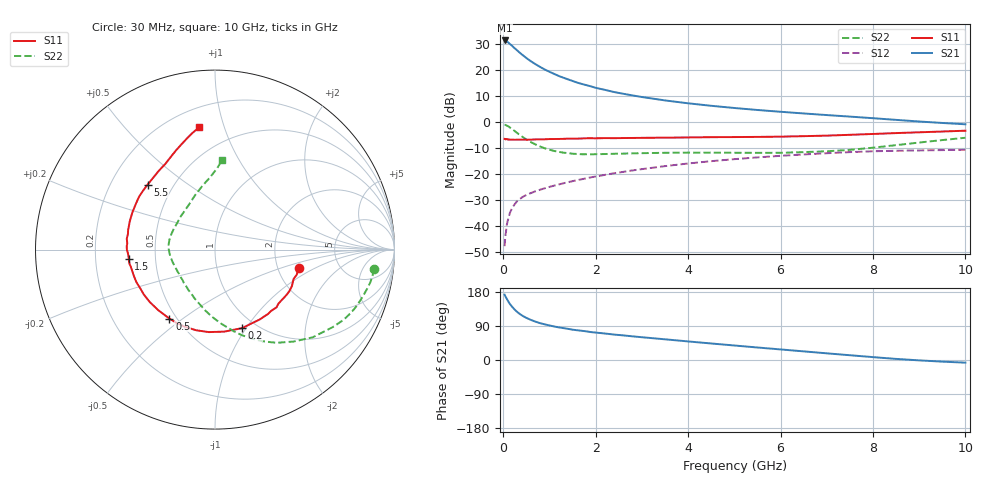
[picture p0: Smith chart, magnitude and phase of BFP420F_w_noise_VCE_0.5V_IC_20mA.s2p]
! Infineon Technologies  Discrete & RF Semiconductors
! BFP420F
! VCE =  0.5 V,  IC =  20 mA
! Common Emitter S-Parameters:  Sep 2011
# GHz  S  MA  R  50
!  f  S11  S21  S12  S22
! GHz  MAG  ANG  MAG  ANG  MAG  ANG  MAG  ANG
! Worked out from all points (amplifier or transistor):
!   54 points, 30 MHz to 10 GHz, reference 50 ohm
!   highest |S21| = 31.5 dB at 30 MHz (marker M1)
!   |S21| within 3 dB of that: start of sweep to 247.5 MHz
!   unconditionally stable (mu >= 1): 1.479 GHz to end of sweep
!   at 120 MHz: K = 0.30, MSG = 33.5 dB, |S12| = -36.4 dB
!   at 1.3 GHz: K = 0.96, MSG = 20.3 dB, |S12| = -23.5 dB
!   at 10 GHz: K = 1.21, MAG = 2.1 dB, |S12| = -10.6 dB
!   lowest NFmin = 1.53 dB at 450 MHz
!   S11 on the Smith chart (normalised r, x): 30 MHz: 2.61, -0.70; 200 MHz: 0.86, -0.96; 500 MHz: 0.46, -0.45; 1.5 GHz: 0.35, -0.05; 5.5 GHz: 0.36, +0.36; 10 GHz: 0.32, +0.83
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0.03  0.4775 -12.5  37.59 172.3  0.0041 87.4  0.8912 -6.9
0.05  0.4676 -20.6  36.75 167.2  0.0069 81.5  0.8846 -11.8
0.07  0.4746 -29.2  36.35 163.0  0.0094 80.7  0.8665 -16.8
0.1  0.464 -40.2  34.92 156.3  0.0129 76.6  0.8431 -23.2
0.12  0.4631 -47.6  33.69 152.2  0.0152 74.4  0.8224 -27.4
0.15  0.4622 -57.1  31.87 147.0  0.0185 71.0  0.7837 -33.6
0.2  0.4629 -71.1  29.16 139.4  0.0228 66.7  0.731 -42.0
0.25  0.4599 -83.7  26.48 132.7  0.0265 63.1  0.6737 -49.5
0.35  0.4615 -103.3  22.14 122.2  0.0328 58.4  0.5766 -62.4
0.4  0.4613 -111.0  20.29 118.1  0.0353 56.9  0.5362 -67.6
0.5  0.4609 -123.5  17.28 111.2  0.0396 54.7  0.4667 -77.1
0.6  0.4628 -133.5  14.89 105.7  0.0433 53.6  0.4126 -85.5
0.8  0.469 -147.8  11.59 97.1  0.0502 53.0  0.3405 -99.8
1.2  0.4761 -165.1  7.791 86.1  0.0633 53.5  0.2692 -123.4
1.5  0.4833 -173.9  6.238 80.0  0.0733 54.0  0.2474 -137.4
1.7  0.4863 -178.0  5.463 77.1  0.0799 54.0  0.2417 -145.7
2.4  0.4928 169.8  3.814 67.1  0.104 52.9  0.2468 -164.7
3.5  0.5047 155.9  2.632 54.6  0.1427 48.7  0.2577 179.6
5.5  0.5216 136.1  1.721 33.0  0.2103 35.9  0.2573 153.2
7  0.5522 120.0  1.374 17.6  0.253 24.8  0.2758 127.0
8.5  0.6179 107.3  1.11 2.9  0.282 12.8  0.3624 101.1
10  0.6869 97.4  0.913 -7.0  0.2952 4.3  0.5022 85.3
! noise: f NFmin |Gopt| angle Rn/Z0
0.45  1.53  0.18  -179  0.15
0.9  1.54  0.18  -179  0.17
1.9  1.66  0.26  -170  0.15
2.4  1.72  0.27  -165  0.11
3.5  1.96  0.29  -155  0.15
